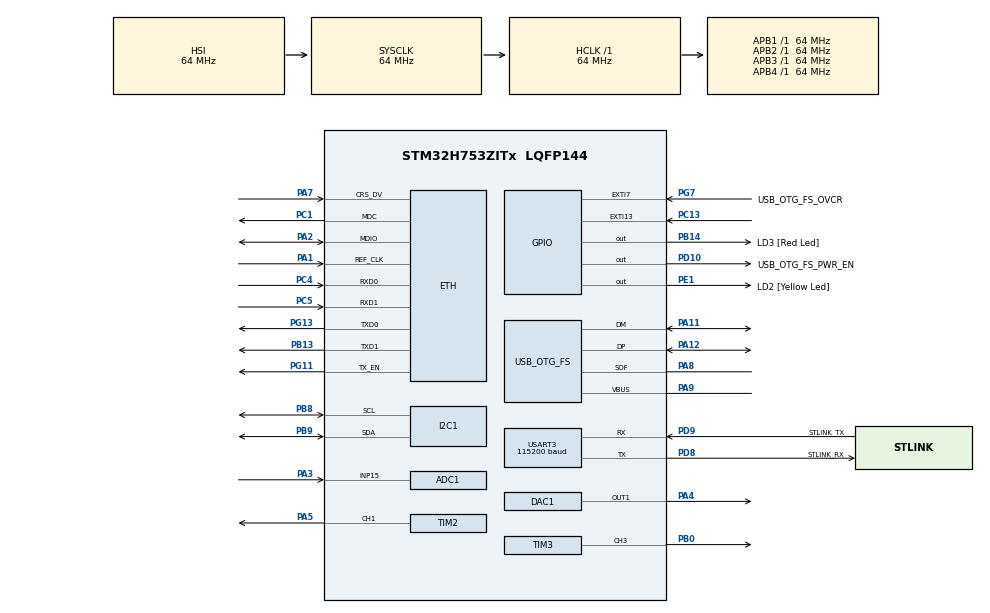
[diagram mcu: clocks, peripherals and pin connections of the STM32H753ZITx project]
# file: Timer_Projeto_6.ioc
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ADC1.Channel-0\#ChannelRegularConversion=ADC_CHANNEL_15
ADC1.ClockPrescaler=ADC_CLOCK_ASYNC_DIV2
ADC1.ContinuousConvMode=ENABLE
ADC1.NbrOfConversionFlag=1
ADC1.OffsetNumber-0\#ChannelRegularConversion=ADC_OFFSET_NONE
ADC1.OffsetSignedSaturation-0\#ChannelRegularConversion=DISABLE
ADC1.Rank-0\#ChannelRegularConversion=1
ADC1.Resolution=ADC_RESOLUTION_12B
ADC1.SamplingTime-0\#ChannelRegularConversion=ADC_SAMPLETIME_1CYCLE_5
ADC1.master=1
CORTEX_M7.CPU_DCache=Disabled
CORTEX_M7.CPU_ICache=Disabled
CORTEX_M7.MPU_Control=__NULL
DAC1.DAC_Channel-DAC_OUT1_ExtAndInt=DAC_CHANNEL_1
DAC1.DAC_Trigger-DAC_OUT1_ExtAndInt=DAC_TRIGGER_T6_TRGO
Dma.ADC1.2.Direction=DMA_PERIPH_TO_MEMORY
Dma.ADC1.2.EventEnable=DISABLE
Dma.ADC1.2.FIFOMode=DMA_FIFOMODE_DISABLE
Dma.ADC1.2.Instance=DMA1_Stream2
Dma.ADC1.2.MemDataAlignment=DMA_MDATAALIGN_HALFWORD
Dma.ADC1.2.MemInc=DMA_MINC_ENABLE
Dma.ADC1.2.Mode=DMA_NORMAL
Dma.ADC1.2.PeriphDataAlignment=DMA_PDATAALIGN_HALFWORD
Dma.ADC1.2.PeriphInc=DMA_PINC_DISABLE
Dma.ADC1.2.Polarity=HAL_DMAMUX_REQ_GEN_RISING
Dma.ADC1.2.Priority=DMA_PRIORITY_LOW
Dma.ADC1.2.RequestNumber=1
Dma.ADC1.2.SignalID=NONE
Dma.ADC1.2.SyncEnable=DISABLE
Dma.ADC1.2.SyncPolarity=HAL_DMAMUX_SYNC_NO_EVENT
Dma.ADC1.2.SyncRequestNumber=1
Dma.ADC1.2.SyncSignalID=NONE
Dma.DAC1_CH1.1.Direction=DMA_MEMORY_TO_PERIPH
Dma.DAC1_CH1.1.EventEnable=DISABLE
Dma.DAC1_CH1.1.FIFOMode=DMA_FIFOMODE_DISABLE
Dma.DAC1_CH1.1.Instance=DMA1_Stream1
Dma.DAC1_CH1.1.MemDataAlignment=DMA_MDATAALIGN_BYTE
Dma.DAC1_CH1.1.MemInc=DMA_MINC_ENABLE
Dma.DAC1_CH1.1.Mode=DMA_CIRCULAR
Dma.DAC1_CH1.1.PeriphDataAlignment=DMA_PDATAALIGN_BYTE
Dma.DAC1_CH1.1.PeriphInc=DMA_PINC_DISABLE
Dma.DAC1_CH1.1.Polarity=HAL_DMAMUX_REQ_GEN_RISING
Dma.DAC1_CH1.1.Priority=DMA_PRIORITY_LOW
Dma.DAC1_CH1.1.RequestNumber=1
Dma.DAC1_CH1.1.SignalID=NONE
Dma.DAC1_CH1.1.SyncEnable=DISABLE
Dma.DAC1_CH1.1.SyncPolarity=HAL_DMAMUX_SYNC_NO_EVENT
Dma.DAC1_CH1.1.SyncRequestNumber=1
Dma.DAC1_CH1.1.SyncSignalID=NONE
Dma.I2C1_RX.0.Direction=DMA_PERIPH_TO_MEMORY
Dma.I2C1_RX.0.EventEnable=DISABLE
Dma.I2C1_RX.0.FIFOMode=DMA_FIFOMODE_DISABLE
Dma.I2C1_RX.0.Instance=DMA1_Stream0
Dma.I2C1_RX.0.MemDataAlignment=DMA_MDATAALIGN_BYTE
Dma.I2C1_RX.0.MemInc=DMA_MINC_ENABLE
Dma.I2C1_RX.0.Mode=DMA_CIRCULAR
Dma.I2C1_RX.0.PeriphDataAlignment=DMA_PDATAALIGN_BYTE
Dma.I2C1_RX.0.PeriphInc=DMA_PINC_DISABLE
Dma.I2C1_RX.0.Polarity=HAL_DMAMUX_REQ_GEN_RISING
Dma.I2C1_RX.0.Priority=DMA_PRIORITY_LOW
Dma.I2C1_RX.0.RequestNumber=1
Dma.I2C1_RX.0.SignalID=NONE
Dma.I2C1_RX.0.SyncEnable=DISABLE
Dma.I2C1_RX.0.SyncPolarity=HAL_DMAMUX_SYNC_NO_EVENT
Dma.I2C1_RX.0.SyncRequestNumber=1
Dma.I2C1_RX.0.SyncSignalID=NONE
Dma.Request0=I2C1_RX
Dma.Request1=DAC1_CH1
Dma.Request2=ADC1
ETH.ETH_RX_DESC_CNT=4
ETH.ETH_TX_DESC_CNT=4
ETH.MACAddr=00\:80\:E1\:00\:00\:00
ETH.MediaInterface=HAL_ETH_RMII_MODE
ETH.RxBuffAddress=0x30040200
ETH.RxBuffLen=1524
ETH.RxDescAddress=0x30040000
ETH.TxDescAddress=0x30040060
Mcu.Family=STM32H7
Mcu.Name=STM32H753ZITx
Mcu.Package=LQFP144
NVIC.ADC_IRQn=true\:0\:0\:false\:false\:true\:true\:true\:true
NVIC.DMA1_Stream0_IRQn=true\:0\:0\:false\:false\:true\:false\:true\:true
NVIC.DMA1_Stream1_IRQn=true\:0\:0\:false\:false\:true\:false\:true\:true
NVIC.DMA1_Stream2_IRQn=true\:0\:0\:false\:false\:true\:false\:true\:true
NVIC.EXTI15_10_IRQn=true\:0\:0\:false\:false\:true\:true\:true\:true
NVIC.PriorityGroup=NVIC_PRIORITYGROUP_4
PA1.Mode=RMII
PA1.Signal=ETH_REF_CLK
PA11.Mode=Device_Only
PA11.Signal=USB_OTG_FS_DM
PA12.Mode=Device_Only
PA12.Signal=USB_OTG_FS_DP
PA2.Mode=RMII
PA2.Signal=ETH_MDIO
PA3.Signal=ADCx_INP15
PA4.Signal=COMP_DAC11_group
PA5.Signal=S_TIM2_CH1_ETR
PA7.Mode=RMII
PA7.Signal=ETH_CRS_DV
PA8.Mode=Activate_SOF_FS
PA8.Signal=USB_OTG_FS_SOF
PA9.Mode=Activate_VBUS
PA9.Signal=USB_OTG_FS_VBUS
PB0.Signal=S_TIM3_CH3
PB13.Mode=RMII
PB13.Signal=ETH_TXD1
PB14.GPIO_Label=LD3 [Red Led]
PB14.Signal=GPIO_Output
PB8.GPIO_Pu=GPIO_PULLUP
PB8.GPIO_Speed=GPIO_SPEED_FREQ_VERY_HIGH
PB8.Mode=I2C
PB8.Signal=I2C1_SCL
PB9.GPIO_Pu=GPIO_PULLUP
PB9.GPIO_Speed=GPIO_SPEED_FREQ_VERY_HIGH
PB9.Mode=I2C
PB9.Signal=I2C1_SDA
PC1.Mode=RMII
PC1.Signal=ETH_MDC
PC13.Signal=GPXTI13
PC14-OSC32_IN\ (OSC32_IN).Mode=LSE-External-Oscillator
PC14-OSC32_IN\ (OSC32_IN).Signal=RCC_OSC32_IN
PC15-OSC32_OUT\ (OSC32_OUT).Mode=LSE-External-Oscillator
PC15-OSC32_OUT\ (OSC32_OUT).Signal=RCC_OSC32_OUT
PC4.Mode=RMII
PC4.Signal=ETH_RXD0
PC5.Mode=RMII
PC5.Signal=ETH_RXD1
PD10.GPIO_Label=USB_OTG_FS_PWR_EN
PD10.Signal=GPIO_Output
PD8.GPIO_Label=STLINK_RX
PD8.Mode=Asynchronous
PD8.Signal=USART3_TX
PD9.GPIO_Label=STLINK_TX
PD9.Mode=Asynchronous
PD9.Signal=USART3_RX
PE1.GPIO_Label=LD2 [Yellow Led]
PE1.Signal=GPIO_Output
PG11.Mode=RMII
PG11.Signal=ETH_TX_EN
PG13.Mode=RMII
PG13.Signal=ETH_TXD0
PG7.GPIO_Label=USB_OTG_FS_OVCR
PG7.Signal=GPXTI7
PH0-OSC_IN\ (PH0).Mode=HSE-External-Clock-Source
PH0-OSC_IN\ (PH0).Signal=RCC_OSC_IN
PH1-OSC_OUT\ (PH1).Signal=RCC_OSC_OUT
ProjectManager.HeapSize=0x200
ProjectManager.StackSize=0x400
ProjectManager.TargetToolchain=STM32CubeIDE
RCC.ADCFreq_Value=76000000
RCC.APB1Freq_Value=64000000
RCC.APB2Freq_Value=64000000
RCC.APB3Freq_Value=64000000
RCC.APB4Freq_Value=64000000
RCC.CortexFreq_Value=64000000
RCC.DIVM1=1
RCC.DIVM2=1
RCC.DIVN1=24
RCC.DIVN2=19
RCC.DIVQ1=4
RCC.HCLKFreq_Value=64000000
RCC.HSE_VALUE=8000000
RCC.PLLFRACN=0
RCC.PWR_Regulator_Voltage_Scale=PWR_REGULATOR_VOLTAGE_SCALE2
RCC.SYSCLKFreq_VALUE=64000000
RCC.USBFreq_Value=48000000
SH.ADCx_INP15.0=ADC1_INP15,IN15-Single-Ended
SH.COMP_DAC11_group.0=DAC1_OUT1,DAC_OUT1_ExtAndInt
SH.S_TIM2_CH1_ETR.0=TIM2_CH1,PWM Generation1 CH1
SH.S_TIM3_CH3.0=TIM3_CH3,PWM Generation3 CH3
TIM2.Channel-PWM\ Generation1\ CH1=TIM_CHANNEL_1
TIM2.Period=999
TIM2.Prescaler=239
TIM3.Channel-PWM\ Generation3\ CH3=TIM_CHANNEL_3
TIM3.Period=999
TIM3.Prescaler=239
TIM6.Period=99
TIM6.Prescaler=249
TIM6.TIM_MasterOutputTrigger=TIM_TRGO_UPDATE
USART3.AutoBaudRateEnableParam=UART_ADVFEATURE_AUTOBAUDRATE_DISABLE
USART3.BaudRate=115200
USART3.ClockPrescaler=PRESCALER_DIV1
USART3.DMADisableonRxErrorParam=ADVFEATURE_DMA_ENABLEONRXERROR
USART3.DataInvertParam=ADVFEATURE_DATAINV_DISABLE
USART3.FIFOMode=FIFOMODE_DISABLE
USART3.MSBFirstParam=ADVFEATURE_MSBFIRST_DISABLE
USART3.Mode=MODE_TX_RX
USART3.OneBitSampling=UART_ONE_BIT_SAMPLE_DISABLE
USART3.OverSampling=UART_OVERSAMPLING_16
USART3.OverrunDisableParam=ADVFEATURE_OVERRUN_ENABLE
USART3.Parity=PARITY_NONE
USART3.RXFIFOThreshold=RXFIFO_THRESHOLD_1EIGHTHFULL
USART3.RxPinLevelInvertParam=ADVFEATURE_RXINV_DISABLE
USART3.StopBits=STOPBITS_1
USART3.SwapParam=ADVFEATURE_SWAP_DISABLE
USART3.TXFIFOThreshold=TXFIFO_THRESHOLD_1EIGHTHFULL
USART3.TxPinLevelInvertParam=ADVFEATURE_TXINV_DISABLE
USART3.VirtualMode-Asynchronous=VM_ASYNC
USART3.WordLength=WORDLENGTH_8B
USB_OTG_FS.Sof_enable=ENABLE
USB_OTG_FS.VirtualMode=Device_Only
USB_OTG_FS.battery_charging_enable=ENABLE
USB_OTG_FS.low_power_enable=DISABLE
USB_OTG_FS.lpm_enable=DISABLE
USB_OTG_FS.use_dedicated_ep1=DISABLE
USB_OTG_FS.vbus_sensing_enable=ENABLE
VP_MEMORYMAP_VS_MEMORYMAP.Mode=CurAppReg
VP_TIM2_VS_ClockSourceINT.Mode=Internal
VP_TIM3_VS_ClockSourceINT.Mode=Internal
VP_TIM6_VS_ClockSourceINT.Mode=Enable_Timer
board=NUCLEO-H753ZI

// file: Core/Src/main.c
/* USER CODE BEGIN Header */
/**
  ******************************************************************************
  * @file           : main.c
  * @brief          : Main program body
  ******************************************************************************
  * @attention
  *
  * Copyright (c) 2025 STMicroelectronics.
  * All rights reserved.
  *
  * This software is licensed under terms that can be found in the LICENSE file
  * in the root directory of this software component.
  * If no LICENSE file comes with this software, it is provided AS-IS.
  *
  ******************************************************************************
  */
/* USER CODE END Header */
#include "main.h"
#include "string.h"

/* USER CODE BEGIN Includes */
#include "math.h"
/* USER CODE END Includes */

/* USER CODE BEGIN PD */
#define PCF8591_ADDRESS 0x48 << 1
#define PCF_DMA_BYTES 5
#define SINE_SAMPLES 256
/* USER CODE END PD */

#if defined ( __ICCARM__ ) /*!< IAR Compiler */
#pragma location=0x30040000
ETH_DMADescTypeDef  DMARxDscrTab[ETH_RX_DESC_CNT]; /* Ethernet Rx DMA Descriptors */
#pragma location=0x30040060
ETH_DMADescTypeDef  DMATxDscrTab[ETH_TX_DESC_CNT]; /* Ethernet Tx DMA Descriptors */

#elif defined ( __CC_ARM )  /* MDK ARM Compiler */

__attribute__((at(0x30040000))) ETH_DMADescTypeDef  DMARxDscrTab[ETH_RX_DESC_CNT]; /* Ethernet Rx DMA Descriptors */
__attribute__((at(0x30040060))) ETH_DMADescTypeDef  DMATxDscrTab[ETH_TX_DESC_CNT]; /* Ethernet Tx DMA Descriptors */

#elif defined ( __GNUC__ ) /* GNU Compiler */

ETH_DMADescTypeDef DMARxDscrTab[ETH_RX_DESC_CNT] __attribute__((section(".RxDecripSection"))); /* Ethernet Rx DMA Descriptors */
ETH_DMADescTypeDef DMATxDscrTab[ETH_TX_DESC_CNT] __attribute__((section(".TxDecripSection")));   /* Ethernet Tx DMA Descriptors */
#endif

ETH_TxPacketConfig TxConfig;

ADC_HandleTypeDef hadc1;
DMA_HandleTypeDef hdma_adc1;

DAC_HandleTypeDef hdac1;
DMA_HandleTypeDef hdma_dac1_ch1;

ETH_HandleTypeDef heth;

I2C_HandleTypeDef hi2c1;
DMA_HandleTypeDef hdma_i2c1_rx;

TIM_HandleTypeDef htim2;
TIM_HandleTypeDef htim3;
TIM_HandleTypeDef htim6;

UART_HandleTypeDef huart3;

PCD_HandleTypeDef hpcd_USB_OTG_FS;

/* USER CODE BEGIN PV */
volatile uint32_t pwm_duty = 0;
volatile uint8_t  run_mode = 0;
uint16_t          sine_buf[SINE_SAMPLES];

static uint8_t pcf_buf[PCF_DMA_BYTES];

volatile uint8_t ldr_value = 0;   // CH0
volatile uint8_t pot_value = 0;   // CH3
/* USER CODE END PV */

void SystemClock_Config(void);
static void MX_GPIO_Init(void);
static void MX_DMA_Init(void);
static void MX_ETH_Init(void);
static void MX_USART3_UART_Init(void);
static void MX_USB_OTG_FS_PCD_Init(void);
static void MX_I2C1_Init(void);
static void MX_TIM2_Init(void);
static void MX_TIM3_Init(void);
static void MX_DAC1_Init(void);
static void MX_TIM6_Init(void);
static void MX_ADC1_Init(void);
/* USER CODE BEGIN PFP */
uint8_t PCF8591_ReadAnalog(uint8_t channel);
static void SetLedFromPot(uint8_t pot);
static void PCF8591_StartDMA(void);
static void BuildSine(uint16_t amplitude);
static void DAC_Start(void);
/* USER CODE END PFP */

int main(void)
{

  /* MCU Configuration--------------------------------------------------------*/

  /* Reset of all peripherals, Initializes the Flash interface and the Systick. */
  HAL_Init();

  /* Configure the system clock */
  SystemClock_Config();

  /* Initialize all configured peripherals */
  MX_GPIO_Init();
  MX_DMA_Init();
  MX_ETH_Init();
  MX_USART3_UART_Init();
  MX_USB_OTG_FS_PCD_Init();
  MX_I2C1_Init();
  MX_TIM2_Init();
  MX_TIM3_Init();
  MX_DAC1_Init();
  MX_TIM6_Init();
  MX_ADC1_Init();
  /* USER CODE BEGIN 2 */
  BuildSine(0);      // amplitude 0 → sinal “mudo�? na partida
  DAC_Start();       // inicia DAC + DMA + TIM6

  HAL_TIM_PWM_Start(&htim3, TIM_CHANNEL_3);
  /* USER CODE END 2 */

  /* Infinite loop */
  while (1)
  {
	  	  	  	  uint8_t ldr = PCF8591_ReadAnalog(0);
	  	  	      uint8_t pot = PCF8591_ReadAnalog(3);

	  	  	      switch (run_mode)
	  	  	      {
	  	  	          case 0:  // LED RGB
	  	  	              SetLedFromPot(pot);
	  	  	              BuildSine(0);                // DAC mudo
	  	  	              break;

	  	  	          case 1:  // Só DAC
	  	  	              SetLedFromPot(0);
	  	  	              BuildSine((ldr * 4095) / 255);
	  	  	              break;

	  	  	          case 2:  // Ambos
	  	  	              SetLedFromPot(pot);
	  	  	              BuildSine((ldr * 4095) / 255);
	  	  	              break;
	  	  	      }

	  	  	      HAL_Delay(10);
  }
}

void SystemClock_Config(void)
{
  RCC_OscInitTypeDef RCC_OscInitStruct = {0};
  RCC_ClkInitTypeDef RCC_ClkInitStruct = {0};

  /** Supply configuration update enable
  */
  HAL_PWREx_ConfigSupply(PWR_LDO_SUPPLY);

  /** Configure the main internal regulator output voltage
  */
  __HAL_PWR_VOLTAGESCALING_CONFIG(PWR_REGULATOR_VOLTAGE_SCALE2);

  while(!__HAL_PWR_GET_FLAG(PWR_FLAG_VOSRDY)) {}

  /** Initializes the RCC Oscillators according to the specified parameters
  * in the RCC_OscInitTypeDef structure.
  */
  RCC_OscInitStruct.OscillatorType = RCC_OSCILLATORTYPE_HSI|RCC_OSCILLATORTYPE_HSE;
  RCC_OscInitStruct.HSEState = RCC_HSE_BYPASS;
  RCC_OscInitStruct.HSIState = RCC_HSI_DIV1;
  RCC_OscInitStruct.HSICalibrationValue = RCC_HSICALIBRATION_DEFAULT;
  RCC_OscInitStruct.PLL.PLLState = RCC_PLL_ON;
  RCC_OscInitStruct.PLL.PLLSource = RCC_PLLSOURCE_HSE;
  RCC_OscInitStruct.PLL.PLLM = 1;
  RCC_OscInitStruct.PLL.PLLN = 24;
  RCC_OscInitStruct.PLL.PLLP = 2;
  RCC_OscInitStruct.PLL.PLLQ = 4;
  RCC_OscInitStruct.PLL.PLLR = 2;
  RCC_OscInitStruct.PLL.PLLRGE = RCC_PLL1VCIRANGE_3;
  RCC_OscInitStruct.PLL.PLLVCOSEL = RCC_PLL1VCOWIDE;
  RCC_OscInitStruct.PLL.PLLFRACN = 0;
  if (HAL_RCC_OscConfig(&RCC_OscInitStruct) != HAL_OK)
  {
    Error_Handler();
  }

  /** Initializes the CPU, AHB and APB buses clocks
  */
  RCC_ClkInitStruct.ClockType = RCC_CLOCKTYPE_HCLK|RCC_CLOCKTYPE_SYSCLK
                              |RCC_CLOCKTYPE_PCLK1|RCC_CLOCKTYPE_PCLK2
                              |RCC_CLOCKTYPE_D3PCLK1|RCC_CLOCKTYPE_D1PCLK1;
  RCC_ClkInitStruct.SYSCLKSource = RCC_SYSCLKSOURCE_HSI;
  RCC_ClkInitStruct.SYSCLKDivider = RCC_SYSCLK_DIV1;
  RCC_ClkInitStruct.AHBCLKDivider = RCC_HCLK_DIV1;
  RCC_ClkInitStruct.APB3CLKDivider = RCC_APB3_DIV1;
  RCC_ClkInitStruct.APB1CLKDivider = RCC_APB1_DIV1;
  RCC_ClkInitStruct.APB2CLKDivider = RCC_APB2_DIV1;
  RCC_ClkInitStruct.APB4CLKDivider = RCC_APB4_DIV1;

  if (HAL_RCC_ClockConfig(&RCC_ClkInitStruct, FLASH_LATENCY_1) != HAL_OK)
  {
    Error_Handler();
  }
}

static void MX_ADC1_Init(void)
{

  ADC_MultiModeTypeDef multimode = {0};
  ADC_ChannelConfTypeDef sConfig = {0};

  /** Common config
  */
  hadc1.Instance = ADC1;
  hadc1.Init.ScanConvMode = ADC_SCAN_DISABLE;
  hadc1.Init.EOCSelection = ADC_EOC_SINGLE_CONV;
  hadc1.Init.LowPowerAutoWait = DISABLE;
  hadc1.Init.ContinuousConvMode = ENABLE;
  hadc1.Init.NbrOfConversion = 1;
  hadc1.Init.DiscontinuousConvMode = DISABLE;
  hadc1.Init.ExternalTrigConv = ADC_SOFTWARE_START;
  hadc1.Init.ExternalTrigConvEdge = ADC_EXTERNALTRIGCONVEDGE_NONE;
  hadc1.Init.ConversionDataManagement = ADC_CONVERSIONDATA_DR;
  hadc1.Init.Overrun = ADC_OVR_DATA_PRESERVED;
  hadc1.Init.LeftBitShift = ADC_LEFTBITSHIFT_NONE;
  hadc1.Init.OversamplingMode = DISABLE;
  hadc1.Init.Oversampling.Ratio = 1;
  if (HAL_ADC_Init(&hadc1) != HAL_OK)
  {
    Error_Handler();
  }
  hadc1.Init.ClockPrescaler = ADC_CLOCK_ASYNC_DIV2;
  hadc1.Init.Resolution = ADC_RESOLUTION_12B;
  if (HAL_ADC_Init(&hadc1) != HAL_OK)
  {
    Error_Handler();
  }

  /** Configure the ADC multi-mode
  */
  multimode.Mode = ADC_MODE_INDEPENDENT;
  if (HAL_ADCEx_MultiModeConfigChannel(&hadc1, &multimode) != HAL_OK)
  {
    Error_Handler();
  }

  /** Configure Regular Channel
  */
  sConfig.Channel = ADC_CHANNEL_15;
  sConfig.Rank = ADC_REGULAR_RANK_1;
  sConfig.SamplingTime = ADC_SAMPLETIME_1CYCLE_5;
  sConfig.SingleDiff = ADC_SINGLE_ENDED;
  sConfig.OffsetNumber = ADC_OFFSET_NONE;
  sConfig.Offset = 0;
  sConfig.OffsetSignedSaturation = DISABLE;
  if (HAL_ADC_ConfigChannel(&hadc1, &sConfig) != HAL_OK)
  {
    Error_Handler();
  }

}

static void MX_DAC1_Init(void)
{

  DAC_ChannelConfTypeDef sConfig = {0};

  /** DAC Initialization
  */
  hdac1.Instance = DAC1;
  if (HAL_DAC_Init(&hdac1) != HAL_OK)
  {
    Error_Handler();
  }

  /** DAC channel OUT1 config
  */
  sConfig.DAC_SampleAndHold = DAC_SAMPLEANDHOLD_DISABLE;
  sConfig.DAC_Trigger = DAC_TRIGGER_T6_TRGO;
  sConfig.DAC_OutputBuffer = DAC_OUTPUTBUFFER_ENABLE;
  sConfig.DAC_ConnectOnChipPeripheral = DAC_CHIPCONNECT_ENABLE;
  sConfig.DAC_UserTrimming = DAC_TRIMMING_FACTORY;
  if (HAL_DAC_ConfigChannel(&hdac1, &sConfig, DAC_CHANNEL_1) != HAL_OK)
  {
    Error_Handler();
  }

}

static void MX_ETH_Init(void)
{

   static uint8_t MACAddr[6];

  heth.Instance = ETH;
  MACAddr[0] = 0x00;
  MACAddr[1] = 0x80;
  MACAddr[2] = 0xE1;
  MACAddr[3] = 0x00;
  MACAddr[4] = 0x00;
  MACAddr[5] = 0x00;
  heth.Init.MACAddr = &MACAddr[0];
  heth.Init.MediaInterface = HAL_ETH_RMII_MODE;
  heth.Init.TxDesc = DMATxDscrTab;
  heth.Init.RxDesc = DMARxDscrTab;
  heth.Init.RxBuffLen = 1524;

  if (HAL_ETH_Init(&heth) != HAL_OK)
  {
    Error_Handler();
  }

  memset(&TxConfig, 0 , sizeof(ETH_TxPacketConfig));
  TxConfig.Attributes = ETH_TX_PACKETS_FEATURES_CSUM | ETH_TX_PACKETS_FEATURES_CRCPAD;
  TxConfig.ChecksumCtrl = ETH_CHECKSUM_IPHDR_PAYLOAD_INSERT_PHDR_CALC;
  TxConfig.CRCPadCtrl = ETH_CRC_PAD_INSERT;

}

static void MX_I2C1_Init(void)
{

  hi2c1.Instance = I2C1;
  hi2c1.Init.Timing = 0x10707DBC;
  hi2c1.Init.OwnAddress1 = 0;
  hi2c1.Init.AddressingMode = I2C_ADDRESSINGMODE_7BIT;
  hi2c1.Init.DualAddressMode = I2C_DUALADDRESS_DISABLE;
  hi2c1.Init.OwnAddress2 = 0;
  hi2c1.Init.OwnAddress2Masks = I2C_OA2_NOMASK;
  hi2c1.Init.GeneralCallMode = I2C_GENERALCALL_DISABLE;
  hi2c1.Init.NoStretchMode = I2C_NOSTRETCH_DISABLE;
  if (HAL_I2C_Init(&hi2c1) != HAL_OK)
  {
    Error_Handler();
  }

  /** Configure Analogue filter
  */
  if (HAL_I2CEx_ConfigAnalogFilter(&hi2c1, I2C_ANALOGFILTER_ENABLE) != HAL_OK)
  {
    Error_Handler();
  }

  /** Configure Digital filter
  */
  if (HAL_I2CEx_ConfigDigitalFilter(&hi2c1, 0) != HAL_OK)
  {
    Error_Handler();
  }

}

static void MX_TIM2_Init(void)
{

  TIM_ClockConfigTypeDef sClockSourceConfig = {0};
  TIM_MasterConfigTypeDef sMasterConfig = {0};
  TIM_OC_InitTypeDef sConfigOC = {0};

  htim2.Instance = TIM2;
  htim2.Init.Prescaler = 239;
  htim2.Init.CounterMode = TIM_COUNTERMODE_UP;
  htim2.Init.Period = 999;
  htim2.Init.ClockDivision = TIM_CLOCKDIVISION_DIV1;
  htim2.Init.AutoReloadPreload = TIM_AUTORELOAD_PRELOAD_DISABLE;
  if (HAL_TIM_Base_Init(&htim2) != HAL_OK)
  {
    Error_Handler();
  }
  sClockSourceConfig.ClockSource = TIM_CLOCKSOURCE_INTERNAL;
  if (HAL_TIM_ConfigClockSource(&htim2, &sClockSourceConfig) != HAL_OK)
  {
    Error_Handler();
  }
  if (HAL_TIM_PWM_Init(&htim2) != HAL_OK)
  {
    Error_Handler();
  }
  sMasterConfig.MasterOutputTrigger = TIM_TRGO_RESET;
  sMasterConfig.MasterSlaveMode = TIM_MASTERSLAVEMODE_DISABLE;
  if (HAL_TIMEx_MasterConfigSynchronization(&htim2, &sMasterConfig) != HAL_OK)
  {
    Error_Handler();
  }
  sConfigOC.OCMode = TIM_OCMODE_PWM1;
  sConfigOC.Pulse = 0;
  sConfigOC.OCPolarity = TIM_OCPOLARITY_HIGH;
  sConfigOC.OCFastMode = TIM_OCFAST_DISABLE;
  if (HAL_TIM_PWM_ConfigChannel(&htim2, &sConfigOC, TIM_CHANNEL_1) != HAL_OK)
  {
    Error_Handler();
  }
  HAL_TIM_MspPostInit(&htim2);

}

static void MX_TIM3_Init(void)
{

  TIM_ClockConfigTypeDef sClockSourceConfig = {0};
  TIM_MasterConfigTypeDef sMasterConfig = {0};
  TIM_OC_InitTypeDef sConfigOC = {0};

  htim3.Instance = TIM3;
  htim3.Init.Prescaler = 239;
  htim3.Init.CounterMode = TIM_COUNTERMODE_UP;
  htim3.Init.Period = 999;
  htim3.Init.ClockDivision = TIM_CLOCKDIVISION_DIV1;
  htim3.Init.AutoReloadPreload = TIM_AUTORELOAD_PRELOAD_DISABLE;
  if (HAL_TIM_Base_Init(&htim3) != HAL_OK)
  {
    Error_Handler();
  }
  sClockSourceConfig.ClockSource = TIM_CLOCKSOURCE_INTERNAL;
  if (HAL_TIM_ConfigClockSource(&htim3, &sClockSourceConfig) != HAL_OK)
  {
    Error_Handler();
  }
  if (HAL_TIM_PWM_Init(&htim3) != HAL_OK)
  {
    Error_Handler();
  }
  sMasterConfig.MasterOutputTrigger = TIM_TRGO_RESET;
  sMasterConfig.MasterSlaveMode = TIM_MASTERSLAVEMODE_DISABLE;
  if (HAL_TIMEx_MasterConfigSynchronization(&htim3, &sMasterConfig) != HAL_OK)
  {
    Error_Handler();
  }
  sConfigOC.OCMode = TIM_OCMODE_PWM1;
  sConfigOC.Pulse = 0;
  sConfigOC.OCPolarity = TIM_OCPOLARITY_HIGH;
  sConfigOC.OCFastMode = TIM_OCFAST_DISABLE;
  if (HAL_TIM_PWM_ConfigChannel(&htim3, &sConfigOC, TIM_CHANNEL_3) != HAL_OK)
  {
    Error_Handler();
  }
  HAL_TIM_MspPostInit(&htim3);

}

static void MX_TIM6_Init(void)
{

  TIM_MasterConfigTypeDef sMasterConfig = {0};

  htim6.Instance = TIM6;
  htim6.Init.Prescaler = 249;
  htim6.Init.CounterMode = TIM_COUNTERMODE_UP;
  htim6.Init.Period = 99;
  htim6.Init.AutoReloadPreload = TIM_AUTORELOAD_PRELOAD_DISABLE;
  if (HAL_TIM_Base_Init(&htim6) != HAL_OK)
  {
    Error_Handler();
  }
  sMasterConfig.MasterOutputTrigger = TIM_TRGO_UPDATE;
  sMasterConfig.MasterSlaveMode = TIM_MASTERSLAVEMODE_DISABLE;
  if (HAL_TIMEx_MasterConfigSynchronization(&htim6, &sMasterConfig) != HAL_OK)
  {
    Error_Handler();
  }

}

static void MX_USART3_UART_Init(void)
{

  huart3.Instance = USART3;
  huart3.Init.BaudRate = 115200;
  huart3.Init.WordLength = UART_WORDLENGTH_8B;
  huart3.Init.StopBits = UART_STOPBITS_1;
  huart3.Init.Parity = UART_PARITY_NONE;
  huart3.Init.Mode = UART_MODE_TX_RX;
  huart3.Init.HwFlowCtl = UART_HWCONTROL_NONE;
  huart3.Init.OverSampling = UART_OVERSAMPLING_16;
  huart3.Init.OneBitSampling = UART_ONE_BIT_SAMPLE_DISABLE;
  huart3.Init.ClockPrescaler = UART_PRESCALER_DIV1;
  huart3.AdvancedInit.AdvFeatureInit = UART_ADVFEATURE_NO_INIT;
  if (HAL_UART_Init(&huart3) != HAL_OK)
  {
    Error_Handler();
  }
  if (HAL_UARTEx_SetTxFifoThreshold(&huart3, UART_TXFIFO_THRESHOLD_1_8) != HAL_OK)
  {
    Error_Handler();
  }
  if (HAL_UARTEx_SetRxFifoThreshold(&huart3, UART_RXFIFO_THRESHOLD_1_8) != HAL_OK)
  {
    Error_Handler();
  }
  if (HAL_UARTEx_DisableFifoMode(&huart3) != HAL_OK)
  {
    Error_Handler();
  }

}

static void MX_USB_OTG_FS_PCD_Init(void)
{

  hpcd_USB_OTG_FS.Instance = USB_OTG_FS;
  hpcd_USB_OTG_FS.Init.dev_endpoints = 9;
  hpcd_USB_OTG_FS.Init.speed = PCD_SPEED_FULL;
  hpcd_USB_OTG_FS.Init.dma_enable = DISABLE;
  hpcd_USB_OTG_FS.Init.phy_itface = PCD_PHY_EMBEDDED;
  hpcd_USB_OTG_FS.Init.Sof_enable = ENABLE;
  hpcd_USB_OTG_FS.Init.low_power_enable = DISABLE;
  hpcd_USB_OTG_FS.Init.lpm_enable = DISABLE;
  hpcd_USB_OTG_FS.Init.battery_charging_enable = ENABLE;
  hpcd_USB_OTG_FS.Init.vbus_sensing_enable = ENABLE;
  hpcd_USB_OTG_FS.Init.use_dedicated_ep1 = DISABLE;
  if (HAL_PCD_Init(&hpcd_USB_OTG_FS) != HAL_OK)
  {
    Error_Handler();
  }

}

static void MX_DMA_Init(void)
{

  /* DMA controller clock enable */
  __HAL_RCC_DMA1_CLK_ENABLE();

  /* DMA interrupt init */
  /* DMA1_Stream0_IRQn interrupt configuration */
  HAL_NVIC_SetPriority(DMA1_Stream0_IRQn, 0, 0);
  HAL_NVIC_EnableIRQ(DMA1_Stream0_IRQn);
  /* DMA1_Stream1_IRQn interrupt configuration */
  HAL_NVIC_SetPriority(DMA1_Stream1_IRQn, 0, 0);
  HAL_NVIC_EnableIRQ(DMA1_Stream1_IRQn);
  /* DMA1_Stream2_IRQn interrupt configuration */
  HAL_NVIC_SetPriority(DMA1_Stream2_IRQn, 0, 0);
  HAL_NVIC_EnableIRQ(DMA1_Stream2_IRQn);

}

static void MX_GPIO_Init(void)
{
  GPIO_InitTypeDef GPIO_InitStruct = {0};

  /* GPIO Ports Clock Enable */
  __HAL_RCC_GPIOC_CLK_ENABLE();
  __HAL_RCC_GPIOH_CLK_ENABLE();
  __HAL_RCC_GPIOA_CLK_ENABLE();
  __HAL_RCC_GPIOB_CLK_ENABLE();
  __HAL_RCC_GPIOD_CLK_ENABLE();
  __HAL_RCC_GPIOG_CLK_ENABLE();
  __HAL_RCC_GPIOE_CLK_ENABLE();

  /*Configure GPIO pin Output Level */
  HAL_GPIO_WritePin(LD3_GPIO_Port, LD3_Pin, GPIO_PIN_RESET);

  /*Configure GPIO pin Output Level */
  HAL_GPIO_WritePin(USB_OTG_FS_PWR_EN_GPIO_Port, USB_OTG_FS_PWR_EN_Pin, GPIO_PIN_RESET);

  /*Configure GPIO pin Output Level */
  HAL_GPIO_WritePin(LD2_GPIO_Port, LD2_Pin, GPIO_PIN_RESET);

  /*Configure GPIO pin : PC13 */
  GPIO_InitStruct.Pin = GPIO_PIN_13;
  GPIO_InitStruct.Mode = GPIO_MODE_IT_RISING;
  GPIO_InitStruct.Pull = GPIO_NOPULL;
  HAL_GPIO_Init(GPIOC, &GPIO_InitStruct);

  /*Configure GPIO pin : LD3_Pin */
  GPIO_InitStruct.Pin = LD3_Pin;
  GPIO_InitStruct.Mode = GPIO_MODE_OUTPUT_PP;
  GPIO_InitStruct.Pull = GPIO_NOPULL;
  GPIO_InitStruct.Speed = GPIO_SPEED_FREQ_LOW;
  HAL_GPIO_Init(LD3_GPIO_Port, &GPIO_InitStruct);

  /*Configure GPIO pin : USB_OTG_FS_PWR_EN_Pin */
  GPIO_InitStruct.Pin = USB_OTG_FS_PWR_EN_Pin;
  GPIO_InitStruct.Mode = GPIO_MODE_OUTPUT_PP;
  GPIO_InitStruct.Pull = GPIO_NOPULL;
  GPIO_InitStruct.Speed = GPIO_SPEED_FREQ_LOW;
  HAL_GPIO_Init(USB_OTG_FS_PWR_EN_GPIO_Port, &GPIO_InitStruct);

  /*Configure GPIO pin : USB_OTG_FS_OVCR_Pin */
  GPIO_InitStruct.Pin = USB_OTG_FS_OVCR_Pin;
  GPIO_InitStruct.Mode = GPIO_MODE_IT_RISING;
  GPIO_InitStruct.Pull = GPIO_NOPULL;
  HAL_GPIO_Init(USB_OTG_FS_OVCR_GPIO_Port, &GPIO_InitStruct);

  /*Configure GPIO pin : LD2_Pin */
  GPIO_InitStruct.Pin = LD2_Pin;
  GPIO_InitStruct.Mode = GPIO_MODE_OUTPUT_PP;
  GPIO_InitStruct.Pull = GPIO_NOPULL;
  GPIO_InitStruct.Speed = GPIO_SPEED_FREQ_LOW;
  HAL_GPIO_Init(LD2_GPIO_Port, &GPIO_InitStruct);

  /* EXTI interrupt init*/
  HAL_NVIC_SetPriority(EXTI15_10_IRQn, 0, 0);
  HAL_NVIC_EnableIRQ(EXTI15_10_IRQn);

}

/* USER CODE BEGIN 4 */
uint8_t PCF8591_ReadAnalog(uint8_t channel)
	{
	uint8_t config_byte = 0x40 | (channel & 0x03); // Select the channel (A0, A1, A2, A3)
	uint8_t analog_data[2];

	HAL_I2C_Master_Transmit(&hi2c1, PCF8591_ADDRESS,
	&config_byte, 1, 1000);

	HAL_I2C_Master_Receive(&hi2c1, PCF8591_ADDRESS,
	analog_data, 2, 1000);

	return analog_data[1];
	}

static void SetLedFromPot(uint8_t pot)
{
	uint32_t arr = __HAL_TIM_GET_AUTORELOAD(&htim3);     // 0-999
	pwm_duty = (pot * arr) / 255;
	__HAL_TIM_SET_COMPARE(&htim3, TIM_CHANNEL_3, pwm_duty);
}

static void PCF8591_StartDMA(void)
{
    HAL_I2C_Master_Receive_DMA(&hi2c1, PCF8591_ADDRESS, pcf_buf, PCF_DMA_BYTES);
}

void HAL_I2C_MasterRxCpltCallback(I2C_HandleTypeDef *hi2c)
{
    if (hi2c == &hi2c1)
    {
        ldr_value = pcf_buf[1];     // CH0
        pot_value = pcf_buf[4];     // CH3

        SetLedFromPot(pot_value);   // PWM em tempo real

        /* Relança o DMA para a próxima rodada */
        PCF8591_StartDMA();
    }
}

void HAL_GPIO_EXTI_Callback(uint16_t GPIO_Pin)
{
    if (GPIO_Pin == GPIO_PIN_13)  // Botão azul
    {
        run_mode = (run_mode + 1) % 3;  // Alterna entre 0, 1, 2
    }
}

static void BuildSine(uint16_t amplitude)
{
    for (uint16_t i = 0; i < SINE_SAMPLES; i++)
    {
        float theta = (2.0f * M_PI * i) / SINE_SAMPLES;
        sine_buf[i] = (uint16_t)((amplitude / 2) * (sinf(theta) + 1.0f));
    }
}

static void DAC_Start(void)
{
    HAL_TIM_Base_Start(&htim6);
    HAL_DAC_Start_DMA(&hdac1, DAC_CHANNEL_1,
                      (uint32_t*)sine_buf,
                      SINE_SAMPLES,
                      DAC_ALIGN_12B_R);
}
/* USER CODE END 4 */

void Error_Handler(void)
{
  __disable_irq();
  while (1)
  {
  }
}
